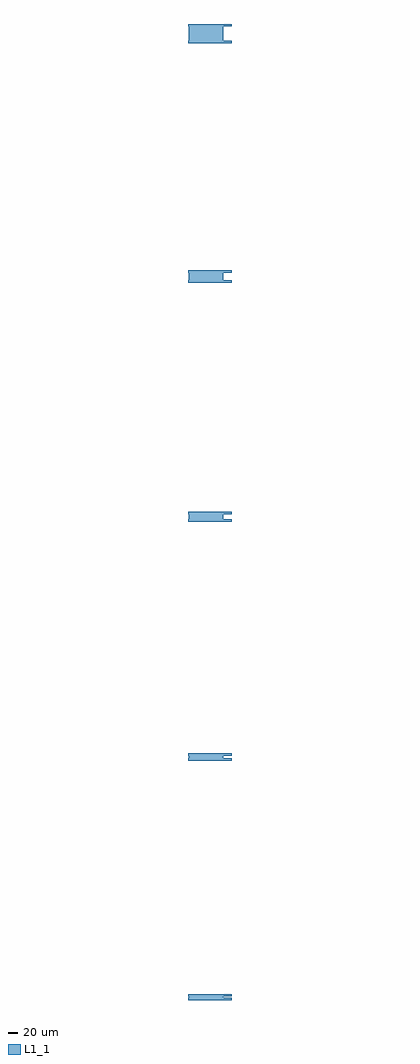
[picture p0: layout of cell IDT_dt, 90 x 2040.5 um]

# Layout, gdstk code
import gdstk
lib = gdstk.Library(unit=1e-6, precision=1e-09)
def P(c, l, *ps):  # polygons
    for p in ps: c.add(gdstk.Polygon(p, *l))
L1_1 = (1, 1)

idt_dt = lib.new_cell('IDT_dt')
P(idt_dt, L1_1, [(2065.2,-1),(2065.2,-3),(2066.105,-3),(2066.105,-1),(2066.4,-1),(2066.4,-3),(2067.305,-3),(2067.305,-1),(2067.6,-1),(2067.6,-3),(2068.505,-3),(2068.505,-1),(2068.8,-1),(2068.8,-3),(2069.705,-3),(2069.705,-1),(2070,-1),(2070,-3),(2070.905,-3),(2070.905,-1),(2071.2,-1),(2071.2,-3),(2072.105,-3),(2072.105,-1),(2072.4,-1),(2072.4,-3),(2073.305,-3),(2073.305,-1),(2073.6,-1),(2073.6,-3),(2074.505,-3),(2074.505,-1),(2074.8,-1),(2074.8,-3),(2075.705,-3),(2075.705,-1),(2076,-1),(2076,-3),(2076.905,-3),(2076.905,-1),(2077.2,-1),(2077.2,-3),(2078.105,-3),(2078.105,-1),(2078.4,-1),(2078.4,-3),(2079.305,-3),(2079.305,-1),(2079.6,-1),(2079.6,-3),(2080.505,-3),(2080.505,-1),(2080.8,-1),(2080.8,-3),(2081.705,-3),(2081.705,-1),(2082,-1),(2082,-3),(2082.905,-3),(2082.905,-1),(2083.2,-1),(2083.2,-3),(2084.105,-3),(2084.105,-1),(2084.4,-1),(2084.4,-3),(2085.305,-3),(2085.305,-1),(2085.6,-1),(2085.6,-3),(2086.505,-3),(2086.505,-1),(2086.8,-1),(2086.8,-3),(2087.705,-3),(2087.705,-1),(2088,-1),(2088,-3),(2088.905,-3),(2088.905,-1),(2089.2,-1),(2089.2,-3),(2090.105,-3),(2090.105,-1),(2090.4,-1),(2090.4,-3),(2091.305,-3),(2091.305,-1),(2091.6,-1),(2091.6,-3),(2092.505,-3),(2092.505,-1),(2092.8,-1),(2092.8,-3),(2093.705,-3),(2093.705,-1),(2094,-1),(2094,-3),(2094.905,-3),(2094.905,-1),(2095.2,-1),(2095.2,-3),(2096.105,-3),(2096.105,-1),(2096.4,-1),(2096.4,-3),(2097.305,-3),(2097.305,-1),(2097.6,-1),(2097.6,-3),(2098.505,-3),(2098.505,-1),(2098.8,-1),(2098.8,-3),(2099.705,-3),(2099.705,-1),(2100,-1),(2100,-3),(2100.905,-3),(2100.905,-1),(2101.2,-1),(2101.2,-3),(2102.105,-3),(2102.105,-1),(2102.4,-1),(2102.4,-3),(2103.305,-3),(2103.305,-1),(2103.6,-1),(2103.6,-3),(2104.505,-3),(2104.505,-1),(2104.8,-1),(2104.8,-3),(2105.705,-3),(2105.705,-1),(2106,-1),(2106,-3),(2106.905,-3),(2106.905,-1),(2107.2,-1),(2107.2,-3),(2108.105,-3),(2108.105,-1),(2108.4,-1),(2108.4,-3),(2109.305,-3),(2109.305,-1),(2109.6,-1),(2109.6,-3),(2110.505,-3),(2110.505,-1),(2110.8,-1),(2110.8,-3),(2111.705,-3),(2111.705,-1),(2112,-1),(2112,-3),(2112.905,-3),(2112.905,-1),(2113.2,-1),(2113.2,-3),(2114.105,-3),(2114.105,-1),(2114.4,-1),(2114.4,-3),(2115.305,-3),(2115.305,-1),(2115.6,-1),(2115.6,-3),(2116.505,-3),(2116.505,-1),(2116.8,-1),(2116.8,-3),(2117.705,-3),(2117.705,-1),(2118,-1),(2118,-3),(2118.905,-3),(2118.905,-1),(2119.2,-1),(2119.2,-3),(2120.105,-3),(2120.105,-1),(2120.4,-1),(2120.4,-3),(2121.305,-3),(2121.305,-1),(2121.6,-1),(2121.6,-3),(2122.505,-3),(2122.505,-1),(2122.8,-1),(2122.8,-3),(2123.705,-3),(2123.705,-1),(2124,-1),(2124,-3),(2124.905,-3),(2124.905,-1),(2125.2,-1),(2125.2,-3),(2126.105,-3),(2126.105,-1),(2126.4,-1),(2126.4,-3),(2127.305,-3),(2127.305,-1),(2127.6,-1),(2127.6,-3),(2128.505,-3),(2128.505,-1),(2128.8,-1),(2128.8,-3),(2129.705,-3),(2129.705,-1),(2130,-1),(2130,-3),(2130.905,-3),(2130.905,-1),(2131.2,-1),(2131.2,-3),(2132.105,-3),(2132.105,-1),(2132.4,-1),(2132.4,-3),(2133.305,-3),(2133.305,-1),(2133.6,-1),(2133.6,-3),(2134.505,-3),(2134.505,-1),(2134.8,-1),(2134.8,-3),(2135.705,-3),(2135.705,-1),(2136,-1),(2136,-3),(2154,-3),(2154,-8),(2064,-8),(2064,-3),(2064.905,-3),(2064.905,-1),(2065.2,-1)],
  [(2065.505,-2.5),(2065.505,-0.5),(2064,-0.5),(2064,4.5),(2154,4.5),(2154,-0.5),(2136.6,-0.5),(2136.6,-2.5),(2136.305,-2.5),(2136.305,-0.5),(2135.4,-0.5),(2135.4,-2.5),(2135.105,-2.5),(2135.105,-0.5),(2134.2,-0.5),(2134.2,-2.5),(2133.905,-2.5),(2133.905,-0.5),(2133,-0.5),(2133,-2.5),(2132.705,-2.5),(2132.705,-0.5),(2131.8,-0.5),(2131.8,-2.5),(2131.505,-2.5),(2131.505,-0.5),(2130.6,-0.5),(2130.6,-2.5),(2130.305,-2.5),(2130.305,-0.5),(2129.4,-0.5),(2129.4,-2.5),(2129.105,-2.5),(2129.105,-0.5),(2128.2,-0.5),(2128.2,-2.5),(2127.905,-2.5),(2127.905,-0.5),(2127,-0.5),(2127,-2.5),(2126.705,-2.5),(2126.705,-0.5),(2125.8,-0.5),(2125.8,-2.5),(2125.505,-2.5),(2125.505,-0.5),(2124.6,-0.5),(2124.6,-2.5),(2124.305,-2.5),(2124.305,-0.5),(2123.4,-0.5),(2123.4,-2.5),(2123.105,-2.5),(2123.105,-0.5),(2122.2,-0.5),(2122.2,-2.5),(2121.905,-2.5),(2121.905,-0.5),(2121,-0.5),(2121,-2.5),(2120.705,-2.5),(2120.705,-0.5),(2119.8,-0.5),(2119.8,-2.5),(2119.505,-2.5),(2119.505,-0.5),(2118.6,-0.5),(2118.6,-2.5),(2118.305,-2.5),(2118.305,-0.5),(2117.4,-0.5),(2117.4,-2.5),(2117.105,-2.5),(2117.105,-0.5),(2116.2,-0.5),(2116.2,-2.5),(2115.905,-2.5),(2115.905,-0.5),(2115,-0.5),(2115,-2.5),(2114.705,-2.5),(2114.705,-0.5),(2113.8,-0.5),(2113.8,-2.5),(2113.505,-2.5),(2113.505,-0.5),(2112.6,-0.5),(2112.6,-2.5),(2112.305,-2.5),(2112.305,-0.5),(2111.4,-0.5),(2111.4,-2.5),(2111.105,-2.5),(2111.105,-0.5),(2110.2,-0.5),(2110.2,-2.5),(2109.905,-2.5),(2109.905,-0.5),(2109,-0.5),(2109,-2.5),(2108.705,-2.5),(2108.705,-0.5),(2107.8,-0.5),(2107.8,-2.5),(2107.505,-2.5),(2107.505,-0.5),(2106.6,-0.5),(2106.6,-2.5),(2106.305,-2.5),(2106.305,-0.5),(2105.4,-0.5),(2105.4,-2.5),(2105.105,-2.5),(2105.105,-0.5),(2104.2,-0.5),(2104.2,-2.5),(2103.905,-2.5),(2103.905,-0.5),(2103,-0.5),(2103,-2.5),(2102.705,-2.5),(2102.705,-0.5),(2101.8,-0.5),(2101.8,-2.5),(2101.505,-2.5),(2101.505,-0.5),(2100.6,-0.5),(2100.6,-2.5),(2100.305,-2.5),(2100.305,-0.5),(2099.4,-0.5),(2099.4,-2.5),(2099.105,-2.5),(2099.105,-0.5),(2098.2,-0.5),(2098.2,-2.5),(2097.905,-2.5),(2097.905,-0.5),(2097,-0.5),(2097,-2.5),(2096.705,-2.5),(2096.705,-0.5),(2095.8,-0.5),(2095.8,-2.5),(2095.505,-2.5),(2095.505,-0.5),(2094.6,-0.5),(2094.6,-2.5),(2094.305,-2.5),(2094.305,-0.5),(2093.4,-0.5),(2093.4,-2.5),(2093.105,-2.5),(2093.105,-0.5),(2092.2,-0.5),(2092.2,-2.5),(2091.905,-2.5),(2091.905,-0.5),(2091,-0.5),(2091,-2.5),(2090.705,-2.5),(2090.705,-0.5),(2089.8,-0.5),(2089.8,-2.5),(2089.505,-2.5),(2089.505,-0.5),(2088.6,-0.5),(2088.6,-2.5),(2088.305,-2.5),(2088.305,-0.5),(2087.4,-0.5),(2087.4,-2.5),(2087.105,-2.5),(2087.105,-0.5),(2086.2,-0.5),(2086.2,-2.5),(2085.905,-2.5),(2085.905,-0.5),(2085,-0.5),(2085,-2.5),(2084.705,-2.5),(2084.705,-0.5),(2083.8,-0.5),(2083.8,-2.5),(2083.505,-2.5),(2083.505,-0.5),(2082.6,-0.5),(2082.6,-2.5),(2082.305,-2.5),(2082.305,-0.5),(2081.4,-0.5),(2081.4,-2.5),(2081.105,-2.5),(2081.105,-0.5),(2080.2,-0.5),(2080.2,-2.5),(2079.905,-2.5),(2079.905,-0.5),(2079,-0.5),(2079,-2.5),(2078.705,-2.5),(2078.705,-0.5),(2077.8,-0.5),(2077.8,-2.5),(2077.505,-2.5),(2077.505,-0.5),(2076.6,-0.5),(2076.6,-2.5),(2076.305,-2.5),(2076.305,-0.5),(2075.4,-0.5),(2075.4,-2.5),(2075.105,-2.5),(2075.105,-0.5),(2074.2,-0.5),(2074.2,-2.5),(2073.905,-2.5),(2073.905,-0.5),(2073,-0.5),(2073,-2.5),(2072.705,-2.5),(2072.705,-0.5),(2071.8,-0.5),(2071.8,-2.5),(2071.505,-2.5),(2071.505,-0.5),(2070.6,-0.5),(2070.6,-2.5),(2070.305,-2.5),(2070.305,-0.5),(2069.4,-0.5),(2069.4,-2.5),(2069.105,-2.5),(2069.105,-0.5),(2068.2,-0.5),(2068.2,-2.5),(2067.905,-2.5),(2067.905,-0.5),(2067,-0.5),(2067,-2.5),(2066.705,-2.5),(2066.705,-0.5),(2065.8,-0.5),(2065.8,-2.5),(2065.505,-2.5)],
  [(2065.2,502),(2065.2,497),(2066.105,497),(2066.105,502),(2066.4,502),(2066.4,497),(2067.305,497),(2067.305,502),(2067.6,502),(2067.6,497),(2068.505,497),(2068.505,502),(2068.8,502),(2068.8,497),(2069.705,497),(2069.705,502),(2070,502),(2070,497),(2070.905,497),(2070.905,502),(2071.2,502),(2071.2,497),(2072.105,497),(2072.105,502),(2072.4,502),(2072.4,497),(2073.305,497),(2073.305,502),(2073.6,502),(2073.6,497),(2074.505,497),(2074.505,502),(2074.8,502),(2074.8,497),(2075.705,497),(2075.705,502),(2076,502),(2076,497),(2076.905,497),(2076.905,502),(2077.2,502),(2077.2,497),(2078.105,497),(2078.105,502),(2078.4,502),(2078.4,497),(2079.305,497),(2079.305,502),(2079.6,502),(2079.6,497),(2080.505,497),(2080.505,502),(2080.8,502),(2080.8,497),(2081.705,497),(2081.705,502),(2082,502),(2082,497),(2082.905,497),(2082.905,502),(2083.2,502),(2083.2,497),(2084.105,497),(2084.105,502),(2084.4,502),(2084.4,497),(2085.305,497),(2085.305,502),(2085.6,502),(2085.6,497),(2086.505,497),(2086.505,502),(2086.8,502),(2086.8,497),(2087.705,497),(2087.705,502),(2088,502),(2088,497),(2088.905,497),(2088.905,502),(2089.2,502),(2089.2,497),(2090.105,497),(2090.105,502),(2090.4,502),(2090.4,497),(2091.305,497),(2091.305,502),(2091.6,502),(2091.6,497),(2092.505,497),(2092.505,502),(2092.8,502),(2092.8,497),(2093.705,497),(2093.705,502),(2094,502),(2094,497),(2094.905,497),(2094.905,502),(2095.2,502),(2095.2,497),(2096.105,497),(2096.105,502),(2096.4,502),(2096.4,497),(2097.305,497),(2097.305,502),(2097.6,502),(2097.6,497),(2098.505,497),(2098.505,502),(2098.8,502),(2098.8,497),(2099.705,497),(2099.705,502),(2100,502),(2100,497),(2100.905,497),(2100.905,502),(2101.2,502),(2101.2,497),(2102.105,497),(2102.105,502),(2102.4,502),(2102.4,497),(2103.305,497),(2103.305,502),(2103.6,502),(2103.6,497),(2104.505,497),(2104.505,502),(2104.8,502),(2104.8,497),(2105.705,497),(2105.705,502),(2106,502),(2106,497),(2106.905,497),(2106.905,502),(2107.2,502),(2107.2,497),(2108.105,497),(2108.105,502),(2108.4,502),(2108.4,497),(2109.305,497),(2109.305,502),(2109.6,502),(2109.6,497),(2110.505,497),(2110.505,502),(2110.8,502),(2110.8,497),(2111.705,497),(2111.705,502),(2112,502),(2112,497),(2112.905,497),(2112.905,502),(2113.2,502),(2113.2,497),(2114.105,497),(2114.105,502),(2114.4,502),(2114.4,497),(2115.305,497),(2115.305,502),(2115.6,502),(2115.6,497),(2116.505,497),(2116.505,502),(2116.8,502),(2116.8,497),(2117.705,497),(2117.705,502),(2118,502),(2118,497),(2118.905,497),(2118.905,502),(2119.2,502),(2119.2,497),(2120.105,497),(2120.105,502),(2120.4,502),(2120.4,497),(2121.305,497),(2121.305,502),(2121.6,502),(2121.6,497),(2122.505,497),(2122.505,502),(2122.8,502),(2122.8,497),(2123.705,497),(2123.705,502),(2124,502),(2124,497),(2124.905,497),(2124.905,502),(2125.2,502),(2125.2,497),(2126.105,497),(2126.105,502),(2126.4,502),(2126.4,497),(2127.305,497),(2127.305,502),(2127.6,502),(2127.6,497),(2128.505,497),(2128.505,502),(2128.8,502),(2128.8,497),(2129.705,497),(2129.705,502),(2130,502),(2130,497),(2130.905,497),(2130.905,502),(2131.2,502),(2131.2,497),(2132.105,497),(2132.105,502),(2132.4,502),(2132.4,497),(2133.305,497),(2133.305,502),(2133.6,502),(2133.6,497),(2134.505,497),(2134.505,502),(2134.8,502),(2134.8,497),(2135.705,497),(2135.705,502),(2136,502),(2136,497),(2154,497),(2154,492),(2064,492),(2064,497),(2064.905,497),(2064.905,502),(2065.2,502)],
  [(2065.505,497.5),(2065.505,502.5),(2064,502.5),(2064,507.5),(2154,507.5),(2154,502.5),(2136.6,502.5),(2136.6,497.5),(2136.305,497.5),(2136.305,502.5),(2135.4,502.5),(2135.4,497.5),(2135.105,497.5),(2135.105,502.5),(2134.2,502.5),(2134.2,497.5),(2133.905,497.5),(2133.905,502.5),(2133,502.5),(2133,497.5),(2132.705,497.5),(2132.705,502.5),(2131.8,502.5),(2131.8,497.5),(2131.505,497.5),(2131.505,502.5),(2130.6,502.5),(2130.6,497.5),(2130.305,497.5),(2130.305,502.5),(2129.4,502.5),(2129.4,497.5),(2129.105,497.5),(2129.105,502.5),(2128.2,502.5),(2128.2,497.5),(2127.905,497.5),(2127.905,502.5),(2127,502.5),(2127,497.5),(2126.705,497.5),(2126.705,502.5),(2125.8,502.5),(2125.8,497.5),(2125.505,497.5),(2125.505,502.5),(2124.6,502.5),(2124.6,497.5),(2124.305,497.5),(2124.305,502.5),(2123.4,502.5),(2123.4,497.5),(2123.105,497.5),(2123.105,502.5),(2122.2,502.5),(2122.2,497.5),(2121.905,497.5),(2121.905,502.5),(2121,502.5),(2121,497.5),(2120.705,497.5),(2120.705,502.5),(2119.8,502.5),(2119.8,497.5),(2119.505,497.5),(2119.505,502.5),(2118.6,502.5),(2118.6,497.5),(2118.305,497.5),(2118.305,502.5),(2117.4,502.5),(2117.4,497.5),(2117.105,497.5),(2117.105,502.5),(2116.2,502.5),(2116.2,497.5),(2115.905,497.5),(2115.905,502.5),(2115,502.5),(2115,497.5),(2114.705,497.5),(2114.705,502.5),(2113.8,502.5),(2113.8,497.5),(2113.505,497.5),(2113.505,502.5),(2112.6,502.5),(2112.6,497.5),(2112.305,497.5),(2112.305,502.5),(2111.4,502.5),(2111.4,497.5),(2111.105,497.5),(2111.105,502.5),(2110.2,502.5),(2110.2,497.5),(2109.905,497.5),(2109.905,502.5),(2109,502.5),(2109,497.5),(2108.705,497.5),(2108.705,502.5),(2107.8,502.5),(2107.8,497.5),(2107.505,497.5),(2107.505,502.5),(2106.6,502.5),(2106.6,497.5),(2106.305,497.5),(2106.305,502.5),(2105.4,502.5),(2105.4,497.5),(2105.105,497.5),(2105.105,502.5),(2104.2,502.5),(2104.2,497.5),(2103.905,497.5),(2103.905,502.5),(2103,502.5),(2103,497.5),(2102.705,497.5),(2102.705,502.5),(2101.8,502.5),(2101.8,497.5),(2101.505,497.5),(2101.505,502.5),(2100.6,502.5),(2100.6,497.5),(2100.305,497.5),(2100.305,502.5),(2099.4,502.5),(2099.4,497.5),(2099.105,497.5),(2099.105,502.5),(2098.2,502.5),(2098.2,497.5),(2097.905,497.5),(2097.905,502.5),(2097,502.5),(2097,497.5),(2096.705,497.5),(2096.705,502.5),(2095.8,502.5),(2095.8,497.5),(2095.505,497.5),(2095.505,502.5),(2094.6,502.5),(2094.6,497.5),(2094.305,497.5),(2094.305,502.5),(2093.4,502.5),(2093.4,497.5),(2093.105,497.5),(2093.105,502.5),(2092.2,502.5),(2092.2,497.5),(2091.905,497.5),(2091.905,502.5),(2091,502.5),(2091,497.5),(2090.705,497.5),(2090.705,502.5),(2089.8,502.5),(2089.8,497.5),(2089.505,497.5),(2089.505,502.5),(2088.6,502.5),(2088.6,497.5),(2088.305,497.5),(2088.305,502.5),(2087.4,502.5),(2087.4,497.5),(2087.105,497.5),(2087.105,502.5),(2086.2,502.5),(2086.2,497.5),(2085.905,497.5),(2085.905,502.5),(2085,502.5),(2085,497.5),(2084.705,497.5),(2084.705,502.5),(2083.8,502.5),(2083.8,497.5),(2083.505,497.5),(2083.505,502.5),(2082.6,502.5),(2082.6,497.5),(2082.305,497.5),(2082.305,502.5),(2081.4,502.5),(2081.4,497.5),(2081.105,497.5),(2081.105,502.5),(2080.2,502.5),(2080.2,497.5),(2079.905,497.5),(2079.905,502.5),(2079,502.5),(2079,497.5),(2078.705,497.5),(2078.705,502.5),(2077.8,502.5),(2077.8,497.5),(2077.505,497.5),(2077.505,502.5),(2076.6,502.5),(2076.6,497.5),(2076.305,497.5),(2076.305,502.5),(2075.4,502.5),(2075.4,497.5),(2075.105,497.5),(2075.105,502.5),(2074.2,502.5),(2074.2,497.5),(2073.905,497.5),(2073.905,502.5),(2073,502.5),(2073,497.5),(2072.705,497.5),(2072.705,502.5),(2071.8,502.5),(2071.8,497.5),(2071.505,497.5),(2071.505,502.5),(2070.6,502.5),(2070.6,497.5),(2070.305,497.5),(2070.305,502.5),(2069.4,502.5),(2069.4,497.5),(2069.105,497.5),(2069.105,502.5),(2068.2,502.5),(2068.2,497.5),(2067.905,497.5),(2067.905,502.5),(2067,502.5),(2067,497.5),(2066.705,497.5),(2066.705,502.5),(2065.8,502.5),(2065.8,497.5),(2065.505,497.5)],
  [(2065.2,1007),(2065.2,997),(2066.105,997),(2066.105,1007),(2066.4,1007),(2066.4,997),(2067.305,997),(2067.305,1007),(2067.6,1007),(2067.6,997),(2068.505,997),(2068.505,1007),(2068.8,1007),(2068.8,997),(2069.705,997),(2069.705,1007),(2070,1007),(2070,997),(2070.905,997),(2070.905,1007),(2071.2,1007),(2071.2,997),(2072.105,997),(2072.105,1007),(2072.4,1007),(2072.4,997),(2073.305,997),(2073.305,1007),(2073.6,1007),(2073.6,997),(2074.505,997),(2074.505,1007),(2074.8,1007),(2074.8,997),(2075.705,997),(2075.705,1007),(2076,1007),(2076,997),(2076.905,997),(2076.905,1007),(2077.2,1007),(2077.2,997),(2078.105,997),(2078.105,1007),(2078.4,1007),(2078.4,997),(2079.305,997),(2079.305,1007),(2079.6,1007),(2079.6,997),(2080.505,997),(2080.505,1007),(2080.8,1007),(2080.8,997),(2081.705,997),(2081.705,1007),(2082,1007),(2082,997),(2082.905,997),(2082.905,1007),(2083.2,1007),(2083.2,997),(2084.105,997),(2084.105,1007),(2084.4,1007),(2084.4,997),(2085.305,997),(2085.305,1007),(2085.6,1007),(2085.6,997),(2086.505,997),(2086.505,1007),(2086.8,1007),(2086.8,997),(2087.705,997),(2087.705,1007),(2088,1007),(2088,997),(2088.905,997),(2088.905,1007),(2089.2,1007),(2089.2,997),(2090.105,997),(2090.105,1007),(2090.4,1007),(2090.4,997),(2091.305,997),(2091.305,1007),(2091.6,1007),(2091.6,997),(2092.505,997),(2092.505,1007),(2092.8,1007),(2092.8,997),(2093.705,997),(2093.705,1007),(2094,1007),(2094,997),(2094.905,997),(2094.905,1007),(2095.2,1007),(2095.2,997),(2096.105,997),(2096.105,1007),(2096.4,1007),(2096.4,997),(2097.305,997),(2097.305,1007),(2097.6,1007),(2097.6,997),(2098.505,997),(2098.505,1007),(2098.8,1007),(2098.8,997),(2099.705,997),(2099.705,1007),(2100,1007),(2100,997),(2100.905,997),(2100.905,1007),(2101.2,1007),(2101.2,997),(2102.105,997),(2102.105,1007),(2102.4,1007),(2102.4,997),(2103.305,997),(2103.305,1007),(2103.6,1007),(2103.6,997),(2104.505,997),(2104.505,1007),(2104.8,1007),(2104.8,997),(2105.705,997),(2105.705,1007),(2106,1007),(2106,997),(2106.905,997),(2106.905,1007),(2107.2,1007),(2107.2,997),(2108.105,997),(2108.105,1007),(2108.4,1007),(2108.4,997),(2109.305,997),(2109.305,1007),(2109.6,1007),(2109.6,997),(2110.505,997),(2110.505,1007),(2110.8,1007),(2110.8,997),(2111.705,997),(2111.705,1007),(2112,1007),(2112,997),(2112.905,997),(2112.905,1007),(2113.2,1007),(2113.2,997),(2114.105,997),(2114.105,1007),(2114.4,1007),(2114.4,997),(2115.305,997),(2115.305,1007),(2115.6,1007),(2115.6,997),(2116.505,997),(2116.505,1007),(2116.8,1007),(2116.8,997),(2117.705,997),(2117.705,1007),(2118,1007),(2118,997),(2118.905,997),(2118.905,1007),(2119.2,1007),(2119.2,997),(2120.105,997),(2120.105,1007),(2120.4,1007),(2120.4,997),(2121.305,997),(2121.305,1007),(2121.6,1007),(2121.6,997),(2122.505,997),(2122.505,1007),(2122.8,1007),(2122.8,997),(2123.705,997),(2123.705,1007),(2124,1007),(2124,997),(2124.905,997),(2124.905,1007),(2125.2,1007),(2125.2,997),(2126.105,997),(2126.105,1007),(2126.4,1007),(2126.4,997),(2127.305,997),(2127.305,1007),(2127.6,1007),(2127.6,997),(2128.505,997),(2128.505,1007),(2128.8,1007),(2128.8,997),(2129.705,997),(2129.705,1007),(2130,1007),(2130,997),(2130.905,997),(2130.905,1007),(2131.2,1007),(2131.2,997),(2132.105,997),(2132.105,1007),(2132.4,1007),(2132.4,997),(2133.305,997),(2133.305,1007),(2133.6,1007),(2133.6,997),(2134.505,997),(2134.505,1007),(2134.8,1007),(2134.8,997),(2135.705,997),(2135.705,1007),(2136,1007),(2136,997),(2154,997),(2154,992),(2064,992),(2064,997),(2064.905,997),(2064.905,1007),(2065.2,1007)],
  [(2072.705,997.5),(2072.705,1007.5),(2071.8,1007.5),(2071.8,997.5),(2071.505,997.5),(2071.505,1007.5),(2070.6,1007.5),(2070.6,997.5),(2070.305,997.5),(2070.305,1007.5),(2069.4,1007.5),(2069.4,997.5),(2069.105,997.5),(2069.105,1007.5),(2068.2,1007.5),(2068.2,997.5),(2067.905,997.5),(2067.905,1007.5),(2067,1007.5),(2067,997.5),(2066.705,997.5),(2066.705,1007.5),(2065.8,1007.5),(2065.8,997.5),(2065.505,997.5),(2065.505,1007.5),(2064,1007.5),(2064,1012.5),(2154,1012.5),(2154,1007.5),(2136.6,1007.5),(2136.6,997.5),(2136.305,997.5),(2136.305,1007.5),(2135.4,1007.5),(2135.4,997.5),(2135.105,997.5),(2135.105,1007.5),(2134.2,1007.5),(2134.2,997.5),(2133.905,997.5),(2133.905,1007.5),(2133,1007.5),(2133,997.5),(2132.705,997.5),(2132.705,1007.5),(2131.8,1007.5),(2131.8,997.5),(2131.505,997.5),(2131.505,1007.5),(2130.6,1007.5),(2130.6,997.5),(2130.305,997.5),(2130.305,1007.5),(2129.4,1007.5),(2129.4,997.5),(2129.105,997.5),(2129.105,1007.5),(2128.2,1007.5),(2128.2,997.5),(2127.905,997.5),(2127.905,1007.5),(2127,1007.5),(2127,997.5),(2126.705,997.5),(2126.705,1007.5),(2125.8,1007.5),(2125.8,997.5),(2125.505,997.5),(2125.505,1007.5),(2124.6,1007.5),(2124.6,997.5),(2124.305,997.5),(2124.305,1007.5),(2123.4,1007.5),(2123.4,997.5),(2123.105,997.5),(2123.105,1007.5),(2122.2,1007.5),(2122.2,997.5),(2121.905,997.5),(2121.905,1007.5),(2121,1007.5),(2121,997.5),(2120.705,997.5),(2120.705,1007.5),(2119.8,1007.5),(2119.8,997.5),(2119.505,997.5),(2119.505,1007.5),(2118.6,1007.5),(2118.6,997.5),(2118.305,997.5),(2118.305,1007.5),(2117.4,1007.5),(2117.4,997.5),(2117.105,997.5),(2117.105,1007.5),(2116.2,1007.5),(2116.2,997.5),(2115.905,997.5),(2115.905,1007.5),(2115,1007.5),(2115,997.5),(2114.705,997.5),(2114.705,1007.5),(2113.8,1007.5),(2113.8,997.5),(2113.505,997.5),(2113.505,1007.5),(2112.6,1007.5),(2112.6,997.5),(2112.305,997.5),(2112.305,1007.5),(2111.4,1007.5),(2111.4,997.5),(2111.105,997.5),(2111.105,1007.5),(2110.2,1007.5),(2110.2,997.5),(2109.905,997.5),(2109.905,1007.5),(2109,1007.5),(2109,997.5),(2108.705,997.5),(2108.705,1007.5),(2107.8,1007.5),(2107.8,997.5),(2107.505,997.5),(2107.505,1007.5),(2106.6,1007.5),(2106.6,997.5),(2106.305,997.5),(2106.305,1007.5),(2105.4,1007.5),(2105.4,997.5),(2105.105,997.5),(2105.105,1007.5),(2104.2,1007.5),(2104.2,997.5),(2103.905,997.5),(2103.905,1007.5),(2103,1007.5),(2103,997.5),(2102.705,997.5),(2102.705,1007.5),(2101.8,1007.5),(2101.8,997.5),(2101.505,997.5),(2101.505,1007.5),(2100.6,1007.5),(2100.6,997.5),(2100.305,997.5),(2100.305,1007.5),(2099.4,1007.5),(2099.4,997.5),(2099.105,997.5),(2099.105,1007.5),(2098.2,1007.5),(2098.2,997.5),(2097.905,997.5),(2097.905,1007.5),(2097,1007.5),(2097,997.5),(2096.705,997.5),(2096.705,1007.5),(2095.8,1007.5),(2095.8,997.5),(2095.505,997.5),(2095.505,1007.5),(2094.6,1007.5),(2094.6,997.5),(2094.305,997.5),(2094.305,1007.5),(2093.4,1007.5),(2093.4,997.5),(2093.105,997.5),(2093.105,1007.5),(2092.2,1007.5),(2092.2,997.5),(2091.905,997.5),(2091.905,1007.5),(2091,1007.5),(2091,997.5),(2090.705,997.5),(2090.705,1007.5),(2089.8,1007.5),(2089.8,997.5),(2089.505,997.5),(2089.505,1007.5),(2088.6,1007.5),(2088.6,997.5),(2088.305,997.5),(2088.305,1007.5),(2087.4,1007.5),(2087.4,997.5),(2087.105,997.5),(2087.105,1007.5),(2086.2,1007.5),(2086.2,997.5),(2085.905,997.5),(2085.905,1007.5),(2085,1007.5),(2085,997.5),(2084.705,997.5),(2084.705,1007.5),(2083.8,1007.5),(2083.8,997.5),(2083.505,997.5),(2083.505,1007.5),(2082.6,1007.5),(2082.6,997.5),(2082.305,997.5),(2082.305,1007.5),(2081.4,1007.5),(2081.4,997.5),(2081.105,997.5),(2081.105,1007.5),(2080.2,1007.5),(2080.2,997.5),(2079.905,997.5),(2079.905,1007.5),(2079,1007.5),(2079,997.5),(2078.705,997.5),(2078.705,1007.5),(2077.8,1007.5),(2077.8,997.5),(2077.505,997.5),(2077.505,1007.5),(2076.6,1007.5),(2076.6,997.5),(2076.305,997.5),(2076.305,1007.5),(2075.4,1007.5),(2075.4,997.5),(2075.105,997.5),(2075.105,1007.5),(2074.2,1007.5),(2074.2,997.5),(2073.905,997.5),(2073.905,1007.5),(2073,1007.5),(2073,997.5),(2072.705,997.5)],
  [(2065.2,1512),(2065.2,1497),(2066.105,1497),(2066.105,1512),(2066.4,1512),(2066.4,1497),(2067.305,1497),(2067.305,1512),(2067.6,1512),(2067.6,1497),(2068.505,1497),(2068.505,1512),(2068.8,1512),(2068.8,1497),(2069.705,1497),(2069.705,1512),(2070,1512),(2070,1497),(2070.905,1497),(2070.905,1512),(2071.2,1512),(2071.2,1497),(2072.105,1497),(2072.105,1512),(2072.4,1512),(2072.4,1497),(2073.305,1497),(2073.305,1512),(2073.6,1512),(2073.6,1497),(2074.505,1497),(2074.505,1512),(2074.8,1512),(2074.8,1497),(2075.705,1497),(2075.705,1512),(2076,1512),(2076,1497),(2076.905,1497),(2076.905,1512),(2077.2,1512),(2077.2,1497),(2078.105,1497),(2078.105,1512),(2078.4,1512),(2078.4,1497),(2079.305,1497),(2079.305,1512),(2079.6,1512),(2079.6,1497),(2080.505,1497),(2080.505,1512),(2080.8,1512),(2080.8,1497),(2081.705,1497),(2081.705,1512),(2082,1512),(2082,1497),(2082.905,1497),(2082.905,1512),(2083.2,1512),(2083.2,1497),(2084.105,1497),(2084.105,1512),(2084.4,1512),(2084.4,1497),(2085.305,1497),(2085.305,1512),(2085.6,1512),(2085.6,1497),(2086.505,1497),(2086.505,1512),(2086.8,1512),(2086.8,1497),(2087.705,1497),(2087.705,1512),(2088,1512),(2088,1497),(2088.905,1497),(2088.905,1512),(2089.2,1512),(2089.2,1497),(2090.105,1497),(2090.105,1512),(2090.4,1512),(2090.4,1497),(2091.305,1497),(2091.305,1512),(2091.6,1512),(2091.6,1497),(2092.505,1497),(2092.505,1512),(2092.8,1512),(2092.8,1497),(2093.705,1497),(2093.705,1512),(2094,1512),(2094,1497),(2094.905,1497),(2094.905,1512),(2095.2,1512),(2095.2,1497),(2096.105,1497),(2096.105,1512),(2096.4,1512),(2096.4,1497),(2097.305,1497),(2097.305,1512),(2097.6,1512),(2097.6,1497),(2098.505,1497),(2098.505,1512),(2098.8,1512),(2098.8,1497),(2099.705,1497),(2099.705,1512),(2100,1512),(2100,1497),(2100.905,1497),(2100.905,1512),(2101.2,1512),(2101.2,1497),(2102.105,1497),(2102.105,1512),(2102.4,1512),(2102.4,1497),(2103.305,1497),(2103.305,1512),(2103.6,1512),(2103.6,1497),(2104.505,1497),(2104.505,1512),(2104.8,1512),(2104.8,1497),(2105.705,1497),(2105.705,1512),(2106,1512),(2106,1497),(2106.905,1497),(2106.905,1512),(2107.2,1512),(2107.2,1497),(2108.105,1497),(2108.105,1512),(2108.4,1512),(2108.4,1497),(2109.305,1497),(2109.305,1512),(2109.6,1512),(2109.6,1497),(2110.505,1497),(2110.505,1512),(2110.8,1512),(2110.8,1497),(2111.705,1497),(2111.705,1512),(2112,1512),(2112,1497),(2112.905,1497),(2112.905,1512),(2113.2,1512),(2113.2,1497),(2114.105,1497),(2114.105,1512),(2114.4,1512),(2114.4,1497),(2115.305,1497),(2115.305,1512),(2115.6,1512),(2115.6,1497),(2116.505,1497),(2116.505,1512),(2116.8,1512),(2116.8,1497),(2117.705,1497),(2117.705,1512),(2118,1512),(2118,1497),(2118.905,1497),(2118.905,1512),(2119.2,1512),(2119.2,1497),(2120.105,1497),(2120.105,1512),(2120.4,1512),(2120.4,1497),(2121.305,1497),(2121.305,1512),(2121.6,1512),(2121.6,1497),(2122.505,1497),(2122.505,1512),(2122.8,1512),(2122.8,1497),(2123.705,1497),(2123.705,1512),(2124,1512),(2124,1497),(2124.905,1497),(2124.905,1512),(2125.2,1512),(2125.2,1497),(2126.105,1497),(2126.105,1512),(2126.4,1512),(2126.4,1497),(2127.305,1497),(2127.305,1512),(2127.6,1512),(2127.6,1497),(2128.505,1497),(2128.505,1512),(2128.8,1512),(2128.8,1497),(2129.705,1497),(2129.705,1512),(2130,1512),(2130,1497),(2130.905,1497),(2130.905,1512),(2131.2,1512),(2131.2,1497),(2132.105,1497),(2132.105,1512),(2132.4,1512),(2132.4,1497),(2133.305,1497),(2133.305,1512),(2133.6,1512),(2133.6,1497),(2134.505,1497),(2134.505,1512),(2134.8,1512),(2134.8,1497),(2135.705,1497),(2135.705,1512),(2136,1512),(2136,1497),(2154,1497),(2154,1492),(2064,1492),(2064,1497),(2064.905,1497),(2064.905,1512),(2065.2,1512)],
  [(2072.705,1497.5),(2072.705,1512.5),(2071.8,1512.5),(2071.8,1497.5),(2071.505,1497.5),(2071.505,1512.5),(2070.6,1512.5),(2070.6,1497.5),(2070.305,1497.5),(2070.305,1512.5),(2069.4,1512.5),(2069.4,1497.5),(2069.105,1497.5),(2069.105,1512.5),(2068.2,1512.5),(2068.2,1497.5),(2067.905,1497.5),(2067.905,1512.5),(2067,1512.5),(2067,1497.5),(2066.705,1497.5),(2066.705,1512.5),(2065.8,1512.5),(2065.8,1497.5),(2065.505,1497.5),(2065.505,1512.5),(2064,1512.5),(2064,1517.5),(2154,1517.5),(2154,1512.5),(2136.6,1512.5),(2136.6,1497.5),(2136.305,1497.5),(2136.305,1512.5),(2135.4,1512.5),(2135.4,1497.5),(2135.105,1497.5),(2135.105,1512.5),(2134.2,1512.5),(2134.2,1497.5),(2133.905,1497.5),(2133.905,1512.5),(2133,1512.5),(2133,1497.5),(2132.705,1497.5),(2132.705,1512.5),(2131.8,1512.5),(2131.8,1497.5),(2131.505,1497.5),(2131.505,1512.5),(2130.6,1512.5),(2130.6,1497.5),(2130.305,1497.5),(2130.305,1512.5),(2129.4,1512.5),(2129.4,1497.5),(2129.105,1497.5),(2129.105,1512.5),(2128.2,1512.5),(2128.2,1497.5),(2127.905,1497.5),(2127.905,1512.5),(2127,1512.5),(2127,1497.5),(2126.705,1497.5),(2126.705,1512.5),(2125.8,1512.5),(2125.8,1497.5),(2125.505,1497.5),(2125.505,1512.5),(2124.6,1512.5),(2124.6,1497.5),(2124.305,1497.5),(2124.305,1512.5),(2123.4,1512.5),(2123.4,1497.5),(2123.105,1497.5),(2123.105,1512.5),(2122.2,1512.5),(2122.2,1497.5),(2121.905,1497.5),(2121.905,1512.5),(2121,1512.5),(2121,1497.5),(2120.705,1497.5),(2120.705,1512.5),(2119.8,1512.5),(2119.8,1497.5),(2119.505,1497.5),(2119.505,1512.5),(2118.6,1512.5),(2118.6,1497.5),(2118.305,1497.5),(2118.305,1512.5),(2117.4,1512.5),(2117.4,1497.5),(2117.105,1497.5),(2117.105,1512.5),(2116.2,1512.5),(2116.2,1497.5),(2115.905,1497.5),(2115.905,1512.5),(2115,1512.5),(2115,1497.5),(2114.705,1497.5),(2114.705,1512.5),(2113.8,1512.5),(2113.8,1497.5),(2113.505,1497.5),(2113.505,1512.5),(2112.6,1512.5),(2112.6,1497.5),(2112.305,1497.5),(2112.305,1512.5),(2111.4,1512.5),(2111.4,1497.5),(2111.105,1497.5),(2111.105,1512.5),(2110.2,1512.5),(2110.2,1497.5),(2109.905,1497.5),(2109.905,1512.5),(2109,1512.5),(2109,1497.5),(2108.705,1497.5),(2108.705,1512.5),(2107.8,1512.5),(2107.8,1497.5),(2107.505,1497.5),(2107.505,1512.5),(2106.6,1512.5),(2106.6,1497.5),(2106.305,1497.5),(2106.305,1512.5),(2105.4,1512.5),(2105.4,1497.5),(2105.105,1497.5),(2105.105,1512.5),(2104.2,1512.5),(2104.2,1497.5),(2103.905,1497.5),(2103.905,1512.5),(2103,1512.5),(2103,1497.5),(2102.705,1497.5),(2102.705,1512.5),(2101.8,1512.5),(2101.8,1497.5),(2101.505,1497.5),(2101.505,1512.5),(2100.6,1512.5),(2100.6,1497.5),(2100.305,1497.5),(2100.305,1512.5),(2099.4,1512.5),(2099.4,1497.5),(2099.105,1497.5),(2099.105,1512.5),(2098.2,1512.5),(2098.2,1497.5),(2097.905,1497.5),(2097.905,1512.5),(2097,1512.5),(2097,1497.5),(2096.705,1497.5),(2096.705,1512.5),(2095.8,1512.5),(2095.8,1497.5),(2095.505,1497.5),(2095.505,1512.5),(2094.6,1512.5),(2094.6,1497.5),(2094.305,1497.5),(2094.305,1512.5),(2093.4,1512.5),(2093.4,1497.5),(2093.105,1497.5),(2093.105,1512.5),(2092.2,1512.5),(2092.2,1497.5),(2091.905,1497.5),(2091.905,1512.5),(2091,1512.5),(2091,1497.5),(2090.705,1497.5),(2090.705,1512.5),(2089.8,1512.5),(2089.8,1497.5),(2089.505,1497.5),(2089.505,1512.5),(2088.6,1512.5),(2088.6,1497.5),(2088.305,1497.5),(2088.305,1512.5),(2087.4,1512.5),(2087.4,1497.5),(2087.105,1497.5),(2087.105,1512.5),(2086.2,1512.5),(2086.2,1497.5),(2085.905,1497.5),(2085.905,1512.5),(2085,1512.5),(2085,1497.5),(2084.705,1497.5),(2084.705,1512.5),(2083.8,1512.5),(2083.8,1497.5),(2083.505,1497.5),(2083.505,1512.5),(2082.6,1512.5),(2082.6,1497.5),(2082.305,1497.5),(2082.305,1512.5),(2081.4,1512.5),(2081.4,1497.5),(2081.105,1497.5),(2081.105,1512.5),(2080.2,1512.5),(2080.2,1497.5),(2079.905,1497.5),(2079.905,1512.5),(2079,1512.5),(2079,1497.5),(2078.705,1497.5),(2078.705,1512.5),(2077.8,1512.5),(2077.8,1497.5),(2077.505,1497.5),(2077.505,1512.5),(2076.6,1512.5),(2076.6,1497.5),(2076.305,1497.5),(2076.305,1512.5),(2075.4,1512.5),(2075.4,1497.5),(2075.105,1497.5),(2075.105,1512.5),(2074.2,1512.5),(2074.2,1497.5),(2073.905,1497.5),(2073.905,1512.5),(2073,1512.5),(2073,1497.5),(2072.705,1497.5)],
  [(2065.2,2027),(2065.2,1997),(2066.105,1997),(2066.105,2027),(2066.4,2027),(2066.4,1997),(2067.305,1997),(2067.305,2027),(2067.6,2027),(2067.6,1997),(2068.505,1997),(2068.505,2027),(2068.8,2027),(2068.8,1997),(2069.705,1997),(2069.705,2027),(2070,2027),(2070,1997),(2070.905,1997),(2070.905,2027),(2071.2,2027),(2071.2,1997),(2072.105,1997),(2072.105,2027),(2072.4,2027),(2072.4,1997),(2073.305,1997),(2073.305,2027),(2073.6,2027),(2073.6,1997),(2074.505,1997),(2074.505,2027),(2074.8,2027),(2074.8,1997),(2075.705,1997),(2075.705,2027),(2076,2027),(2076,1997),(2076.905,1997),(2076.905,2027),(2077.2,2027),(2077.2,1997),(2078.105,1997),(2078.105,2027),(2078.4,2027),(2078.4,1997),(2079.305,1997),(2079.305,2027),(2079.6,2027),(2079.6,1997),(2080.505,1997),(2080.505,2027),(2080.8,2027),(2080.8,1997),(2081.705,1997),(2081.705,2027),(2082,2027),(2082,1997),(2082.905,1997),(2082.905,2027),(2083.2,2027),(2083.2,1997),(2084.105,1997),(2084.105,2027),(2084.4,2027),(2084.4,1997),(2085.305,1997),(2085.305,2027),(2085.6,2027),(2085.6,1997),(2086.505,1997),(2086.505,2027),(2086.8,2027),(2086.8,1997),(2087.705,1997),(2087.705,2027),(2088,2027),(2088,1997),(2088.905,1997),(2088.905,2027),(2089.2,2027),(2089.2,1997),(2090.105,1997),(2090.105,2027),(2090.4,2027),(2090.4,1997),(2091.305,1997),(2091.305,2027),(2091.6,2027),(2091.6,1997),(2092.505,1997),(2092.505,2027),(2092.8,2027),(2092.8,1997),(2093.705,1997),(2093.705,2027),(2094,2027),(2094,1997),(2094.905,1997),(2094.905,2027),(2095.2,2027),(2095.2,1997),(2096.105,1997),(2096.105,2027),(2096.4,2027),(2096.4,1997),(2097.305,1997),(2097.305,2027),(2097.6,2027),(2097.6,1997),(2098.505,1997),(2098.505,2027),(2098.8,2027),(2098.8,1997),(2099.705,1997),(2099.705,2027),(2100,2027),(2100,1997),(2100.905,1997),(2100.905,2027),(2101.2,2027),(2101.2,1997),(2102.105,1997),(2102.105,2027),(2102.4,2027),(2102.4,1997),(2103.305,1997),(2103.305,2027),(2103.6,2027),(2103.6,1997),(2104.505,1997),(2104.505,2027),(2104.8,2027),(2104.8,1997),(2105.705,1997),(2105.705,2027),(2106,2027),(2106,1997),(2106.905,1997),(2106.905,2027),(2107.2,2027),(2107.2,1997),(2108.105,1997),(2108.105,2027),(2108.4,2027),(2108.4,1997),(2109.305,1997),(2109.305,2027),(2109.6,2027),(2109.6,1997),(2110.505,1997),(2110.505,2027),(2110.8,2027),(2110.8,1997),(2111.705,1997),(2111.705,2027),(2112,2027),(2112,1997),(2112.905,1997),(2112.905,2027),(2113.2,2027),(2113.2,1997),(2114.105,1997),(2114.105,2027),(2114.4,2027),(2114.4,1997),(2115.305,1997),(2115.305,2027),(2115.6,2027),(2115.6,1997),(2116.505,1997),(2116.505,2027),(2116.8,2027),(2116.8,1997),(2117.705,1997),(2117.705,2027),(2118,2027),(2118,1997),(2118.905,1997),(2118.905,2027),(2119.2,2027),(2119.2,1997),(2120.105,1997),(2120.105,2027),(2120.4,2027),(2120.4,1997),(2121.305,1997),(2121.305,2027),(2121.6,2027),(2121.6,1997),(2122.505,1997),(2122.505,2027),(2122.8,2027),(2122.8,1997),(2123.705,1997),(2123.705,2027),(2124,2027),(2124,1997),(2124.905,1997),(2124.905,2027),(2125.2,2027),(2125.2,1997),(2126.105,1997),(2126.105,2027),(2126.4,2027),(2126.4,1997),(2127.305,1997),(2127.305,2027),(2127.6,2027),(2127.6,1997),(2128.505,1997),(2128.505,2027),(2128.8,2027),(2128.8,1997),(2129.705,1997),(2129.705,2027),(2130,2027),(2130,1997),(2130.905,1997),(2130.905,2027),(2131.2,2027),(2131.2,1997),(2132.105,1997),(2132.105,2027),(2132.4,2027),(2132.4,1997),(2133.305,1997),(2133.305,2027),(2133.6,2027),(2133.6,1997),(2134.505,1997),(2134.505,2027),(2134.8,2027),(2134.8,1997),(2135.705,1997),(2135.705,2027),(2136,2027),(2136,1997),(2154,1997),(2154,1992),(2064,1992),(2064,1997),(2064.905,1997),(2064.905,2027),(2065.2,2027)],
  [(2067.905,1997.5),(2067.905,2027.5),(2067,2027.5),(2067,1997.5),(2066.705,1997.5),(2066.705,2027.5),(2065.8,2027.5),(2065.8,1997.5),(2065.505,1997.5),(2065.505,2027.5),(2064,2027.5),(2064,2032.5),(2154,2032.5),(2154,2027.5),(2136.6,2027.5),(2136.6,1997.5),(2136.305,1997.5),(2136.305,2027.5),(2135.4,2027.5),(2135.4,1997.5),(2135.105,1997.5),(2135.105,2027.5),(2134.2,2027.5),(2134.2,1997.5),(2133.905,1997.5),(2133.905,2027.5),(2133,2027.5),(2133,1997.5),(2132.705,1997.5),(2132.705,2027.5),(2131.8,2027.5),(2131.8,1997.5),(2131.505,1997.5),(2131.505,2027.5),(2130.6,2027.5),(2130.6,1997.5),(2130.305,1997.5),(2130.305,2027.5),(2129.4,2027.5),(2129.4,1997.5),(2129.105,1997.5),(2129.105,2027.5),(2128.2,2027.5),(2128.2,1997.5),(2127.905,1997.5),(2127.905,2027.5),(2127,2027.5),(2127,1997.5),(2126.705,1997.5),(2126.705,2027.5),(2125.8,2027.5),(2125.8,1997.5),(2125.505,1997.5),(2125.505,2027.5),(2124.6,2027.5),(2124.6,1997.5),(2124.305,1997.5),(2124.305,2027.5),(2123.4,2027.5),(2123.4,1997.5),(2123.105,1997.5),(2123.105,2027.5),(2122.2,2027.5),(2122.2,1997.5),(2121.905,1997.5),(2121.905,2027.5),(2121,2027.5),(2121,1997.5),(2120.705,1997.5),(2120.705,2027.5),(2119.8,2027.5),(2119.8,1997.5),(2119.505,1997.5),(2119.505,2027.5),(2118.6,2027.5),(2118.6,1997.5),(2118.305,1997.5),(2118.305,2027.5),(2117.4,2027.5),(2117.4,1997.5),(2117.105,1997.5),(2117.105,2027.5),(2116.2,2027.5),(2116.2,1997.5),(2115.905,1997.5),(2115.905,2027.5),(2115,2027.5),(2115,1997.5),(2114.705,1997.5),(2114.705,2027.5),(2113.8,2027.5),(2113.8,1997.5),(2113.505,1997.5),(2113.505,2027.5),(2112.6,2027.5),(2112.6,1997.5),(2112.305,1997.5),(2112.305,2027.5),(2111.4,2027.5),(2111.4,1997.5),(2111.105,1997.5),(2111.105,2027.5),(2110.2,2027.5),(2110.2,1997.5),(2109.905,1997.5),(2109.905,2027.5),(2109,2027.5),(2109,1997.5),(2108.705,1997.5),(2108.705,2027.5),(2107.8,2027.5),(2107.8,1997.5),(2107.505,1997.5),(2107.505,2027.5),(2106.6,2027.5),(2106.6,1997.5),(2106.305,1997.5),(2106.305,2027.5),(2105.4,2027.5),(2105.4,1997.5),(2105.105,1997.5),(2105.105,2027.5),(2104.2,2027.5),(2104.2,1997.5),(2103.905,1997.5),(2103.905,2027.5),(2103,2027.5),(2103,1997.5),(2102.705,1997.5),(2102.705,2027.5),(2101.8,2027.5),(2101.8,1997.5),(2101.505,1997.5),(2101.505,2027.5),(2100.6,2027.5),(2100.6,1997.5),(2100.305,1997.5),(2100.305,2027.5),(2099.4,2027.5),(2099.4,1997.5),(2099.105,1997.5),(2099.105,2027.5),(2098.2,2027.5),(2098.2,1997.5),(2097.905,1997.5),(2097.905,2027.5),(2097,2027.5),(2097,1997.5),(2096.705,1997.5),(2096.705,2027.5),(2095.8,2027.5),(2095.8,1997.5),(2095.505,1997.5),(2095.505,2027.5),(2094.6,2027.5),(2094.6,1997.5),(2094.305,1997.5),(2094.305,2027.5),(2093.4,2027.5),(2093.4,1997.5),(2093.105,1997.5),(2093.105,2027.5),(2092.2,2027.5),(2092.2,1997.5),(2091.905,1997.5),(2091.905,2027.5),(2091,2027.5),(2091,1997.5),(2090.705,1997.5),(2090.705,2027.5),(2089.8,2027.5),(2089.8,1997.5),(2089.505,1997.5),(2089.505,2027.5),(2088.6,2027.5),(2088.6,1997.5),(2088.305,1997.5),(2088.305,2027.5),(2087.4,2027.5),(2087.4,1997.5),(2087.105,1997.5),(2087.105,2027.5),(2086.2,2027.5),(2086.2,1997.5),(2085.905,1997.5),(2085.905,2027.5),(2085,2027.5),(2085,1997.5),(2084.705,1997.5),(2084.705,2027.5),(2083.8,2027.5),(2083.8,1997.5),(2083.505,1997.5),(2083.505,2027.5),(2082.6,2027.5),(2082.6,1997.5),(2082.305,1997.5),(2082.305,2027.5),(2081.4,2027.5),(2081.4,1997.5),(2081.105,1997.5),(2081.105,2027.5),(2080.2,2027.5),(2080.2,1997.5),(2079.905,1997.5),(2079.905,2027.5),(2079,2027.5),(2079,1997.5),(2078.705,1997.5),(2078.705,2027.5),(2077.8,2027.5),(2077.8,1997.5),(2077.505,1997.5),(2077.505,2027.5),(2076.6,2027.5),(2076.6,1997.5),(2076.305,1997.5),(2076.305,2027.5),(2075.4,2027.5),(2075.4,1997.5),(2075.105,1997.5),(2075.105,2027.5),(2074.2,2027.5),(2074.2,1997.5),(2073.905,1997.5),(2073.905,2027.5),(2073,2027.5),(2073,1997.5),(2072.705,1997.5),(2072.705,2027.5),(2071.8,2027.5),(2071.8,1997.5),(2071.505,1997.5),(2071.505,2027.5),(2070.6,2027.5),(2070.6,1997.5),(2070.305,1997.5),(2070.305,2027.5),(2069.4,2027.5),(2069.4,1997.5),(2069.105,1997.5),(2069.105,2027.5),(2068.2,2027.5),(2068.2,1997.5),(2067.905,1997.5)])

lib.write_gds('IDT_dt.gds')
